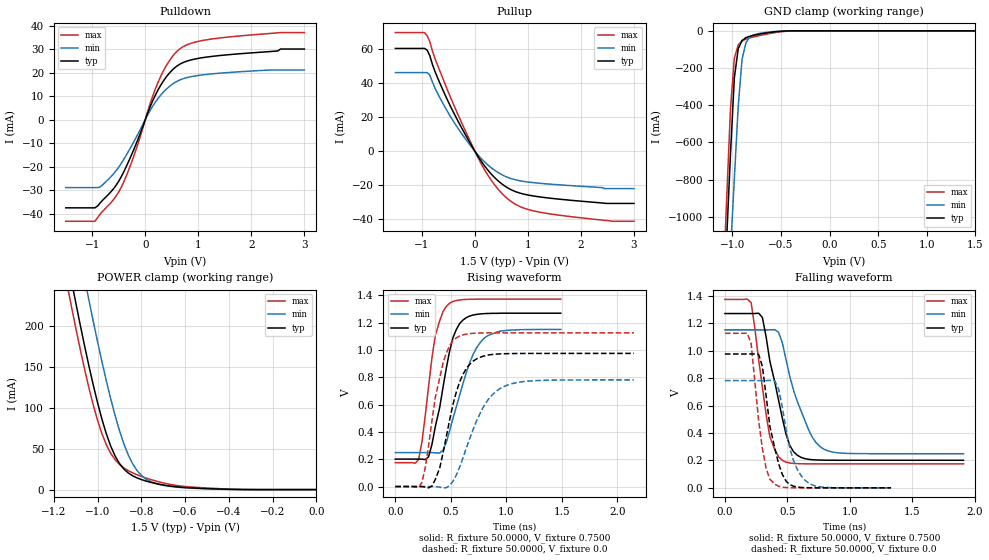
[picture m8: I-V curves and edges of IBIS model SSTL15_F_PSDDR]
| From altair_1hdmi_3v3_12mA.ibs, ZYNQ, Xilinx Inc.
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[Model]  SSTL15_F_PSDDR
Model_type I/O
Polarity   Non-Inverting
Enable   Active-Low
Vinl = 0.65
Vinh = 0.85
Vmeas =  0.7500V
Cref =   0.0F
Rref =   50.0000
Vref =   0.7500V
C_comp   2.70pF 2.69pF  2.70pF
[Temperature Range]   25.0000   85.0000   0.0
[Voltage Range]   1.5000V   1.4250V   1.5750V
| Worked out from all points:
|   slope of the pulldown table from 0 to 0.225 V, typ, clamps not added: 18.8 ohm
|   slope of the pullup table from 0 to 0.225 V, typ, clamps not added: 21.8 ohm
|   GND clamp passes 1 mA (typ) near -0.45 V on its own axis
|   POWER clamp passes 1 mA (typ) near -0.48 V on its own axis
|   rising waveform, R_fixture 50.0000, V_fixture 0.7500: 20-80 % time 154ps typ, 206ps min, 117ps max; typ from 0.201 V to 1.27 V
|   rising waveform, R_fixture 50.0000, V_fixture 0.0: 20-80 % time 171ps typ, 241ps min, 143ps max; typ from 0 V to 0.975 V
|   falling waveform, R_fixture 50.0000, V_fixture 0.7500: 20-80 % time 146ps typ, 187ps min, 108ps max; typ from 1.27 V to 0.201 V
|   falling waveform, R_fixture 50.0000, V_fixture 0.0: 20-80 % time 110ps typ, 118ps min, 86.7ps max; typ from 0.975 V to 0 V
[Pulldown]
|Voltage   I(typ)   I(min)   I(max)
-1.5V     -37.5mA    -28.9mA    -43.22mA
-950mV    -37.5mA    -28.9mA    -43.22mA
-850mV    -35.37mA   -28.59mA   -40.12mA
-550mV    -27.87mA   -21.71mA   -32.47mA
-400mV    -21.9mA    -16.65mA   -26.21mA
-250mV    -14.47mA   -10.78mA   -17.59mA
100mV     5.93mA     4.226mA    7.409mA
250mV     13.02mA    9.277mA    16.35mA
450mV     19.66mA    14.01mA    24.9mA
650mV     23.54mA    16.83mA    30.04mA
1.35V     27.11mA    19.63mA    34.55mA
3V        30mA       21.1mA     37mA
[Pullup]
|Voltage   I(typ)   I(min)   I(max)
-1.5V     60.4mA     46.2mA     69.72mA
-950mV    60.4mA     46.2mA     69.72mA
-900mV    59.43mA    46.2mA     67.84mA
-850mV    56.19mA    44.75mA    64.44mA
-750mV    46.72mA    37mA       54.31mA
-500mV    28.96mA    22.43mA    34.69mA
0V        0A         0A         0A
300mV     -13.11mA   -9.512mA   -16.66mA
650mV     -22.09mA   -15.75mA   -28.75mA
900mV     -25.06mA   -17.65mA   -33.17mA
1.3V      -27.17mA   -19.06mA   -36.25mA
3V        -30.7mA    -22mA      -41.2mA
[GND_clamp]
|Voltage   I(typ)   I(min)   I(max)
-1.5V     -6.261A    -5.975A    -6.458A
-1.1V     -1.595A    -1.987A    -1.419A
-1.06V    -1.129A    -1.589A    -916.8mA
-1.02V    -665.9mA   -1.191A    -422.9mA
-980mV    -253.2mA   -794.6mA   -147.2mA
-940mV    -96.1mA    -405.1mA   -75.54mA
-900mV    -51.74mA   -150.7mA   -53.95mA
-860mV    -36.51mA   -63.2mA    -44.33mA
-820mV    -29.09mA   -33.3mA    -38.03mA
-780mV    -24mA      -21.55mA   -32.71mA
-500mV    -2.37mA    -1.614mA   -4.997mA
1.5V      2.628nA    79.86nA    1.985nA
[POWER_clamp]
|Voltage   I(typ)   I(min)   I(max)
-1.5V     825.2mA    911.6mA    791.5mA
-1.14V    283.6mA    370.2mA    251.3mA
-1.12V    255.8mA    341.8mA    224.1mA
-1.1V     228.6mA    313.6mA    197.6mA
-1.04V    151.5mA    231.9mA    124.7mA
-980mV    85.89mA    156.1mA    68.15mA
-940mV    53.11mA    110.9mA    44.31mA
-880mV    25.16mA    56.07mA    26.49mA
-840mV    16.94mA    31.67mA    20.51mA
-780mV    10.57mA    13.11mA    14.25mA
-680mV    4.78mA     4.341mA    6.982mA
0V        2.628nA    22.47nA    3.326nA
[Ramp]
| variable   typ   min   max
dV/dt_r  0.5956/0.143n   0.4745/0.2145n   0.6716/0.1329n
dV/dt_f  0.6414/0.136n   0.4872/0.188n   0.7194/0.097n
R_load = 50.0000
[Rising Waveform]
R_fixture= 50.0000
V_fixture= 0.7500
V_fixture_min= 0.7125
V_fixture_max= 0.7875
|time   V(typ)   V(min)   V(max)
0s        201mV      248.6mV    174.8mV
210ps     201.3mV    248.6mV    198.1mV
300ps     218.8mV    248.9mV    737mV
360ps     438.1mV    246.6mV    1.106V
460ps     869.6mV    324.9mV    1.32V
520ps     1.092V     500.7mV    1.356V
580ps     1.195V     671mV      1.367V
700ps     1.256V     966.6mV    1.372V
790ps     1.266V     1.078V     1.373V
1.49ns    1.27V      1.151V     1.373V
[Rising Waveform]
R_fixture= 50.0000
V_fixture= 0.0
|time   V(typ)   V(min)   V(max)
0s        -1.287uV   -92.61nV   -1.828uV
240ps     17.09uV    -16.17uV   31.19mV
330ps     3.419mV    473.5uV    481.6mV
360ps     51.25mV    -675.9uV   651.8mV
430ps     245.7mV    -9.251mV   904.9mV
550ps     693.6mV    85.56mV    1.09V
640ps     865mV      281.8mV    1.117V
790ps     954.6mV    578mV      1.125V
970ps     972.6mV    729.1mV    1.126V
2.15ns    975.3mV    781.3mV    1.126V
[Falling Waveform]
R_fixture= 50.0000
V_fixture= 0.7500
V_fixture_min= 0.7125
V_fixture_max= 0.7875
|time   V(typ)   V(min)   V(max)
0s        1.27V      1.151V     1.373V
210ps     1.27V      1.151V     1.349V
300ps     1.241V     1.151V     735.2mV
360ps     923.3mV    1.151V     371.9mV
430ps     637.1mV    1.133V     226.1mV
460ps     507.5mV    1.055V     200.4mV
550ps     263mV      709.9mV    178mV
700ps     205.1mV    368.8mV    175mV
790ps     201.9mV    283.3mV    174.9mV
1.91ns    201mV      248.6mV    174.8mV
[Falling Waveform]
R_fixture= 50.0000
V_fixture= 0.0
|time   V(typ)   V(min)   V(max)
0s        975.3mV    781.3mV    1.126V
180ps     975.4mV    781.3mV    1.127V
210ps     975.2mV    781.3mV    1.05V
300ps     886mV      781.2mV    287.4mV
360ps     449.2mV    783mV      62.79mV
400ps     287.7mV    779.1mV    26.89mV
490ps     48.75mV    423mV      2.364mV
550ps     11.83mV    196.2mV    571.5uV
640ps     1.846mV    57.16mV    170.9uV
1.33ns    48.8uV     60.17uV    40.85uV
